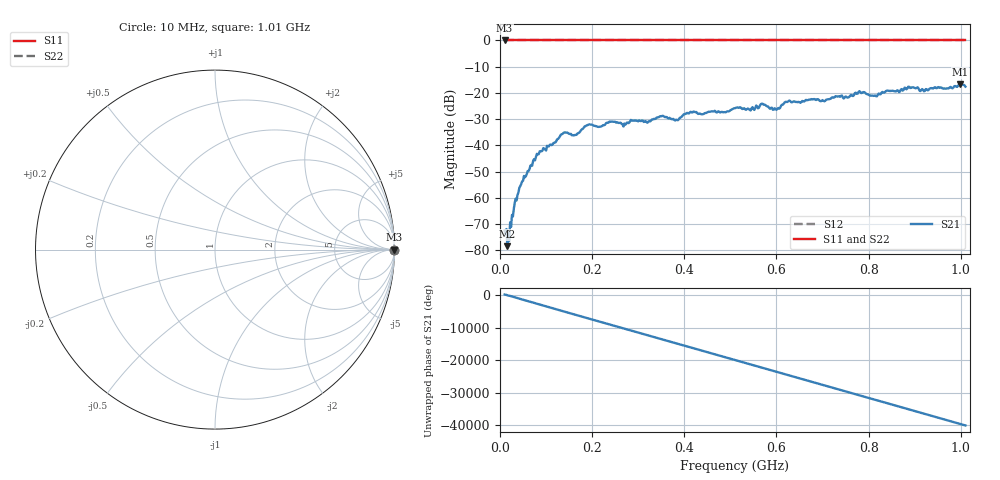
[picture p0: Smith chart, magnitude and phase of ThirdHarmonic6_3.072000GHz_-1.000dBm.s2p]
! 8/17/2025 8:59:03 AM
! C:\ANRITSUVNA\TEMP\TEMP.S2P
! CHANNEL.1
! TR.MEASUREMENT
! RAW.DATA
! RF.CORRECTION.OFF
! AVERAGING.OFF
! IF.BANDWIDTH: 5KHZ
! SWEEPTYPE:  FREQ.SWEEP(Linear)
! Reference Plane Port Info
! PORT:  PORT1  PORT2
! DISTANCE:  0  m  0  m
! TIME:  0  s  0  s
! PHASE.OFFSET:  0  deg.  0  deg.
! LOSS:  0  dB  0  dB
! REF.LOSS:  0  dB  0  dB
! REF.FREQ:  0  Hz  0  Hz
! Power Info
! POWER:  -20  dBm  -20  dBm
! EFF.POWER:  -20  dBm  -20  dBm
! SOURCE.ATTEN:  0  dB  0  dB
! TEST.ATTEN:  0  dB  0  dB
# GHZ S RI R 50.0
! FREQ.GHZ  S11RE  S11IM  S21RE  S21IM  S12RE  S12IM  S22RE  S22IM
!; PortSelection: Port_12
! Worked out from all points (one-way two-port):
!   501 points, 10 MHz to 1.01 GHz, reference 50 ohm
!   highest |S21| = -16.72 dB at 998 MHz (marker M1); lowest = -78.4 dB at 16 MHz (marker M2)
!   lowest |S11| = 0.0 dB at 10 MHz (marker M3)
!   |S11| at or under -10 dB: nowhere
!   |S22| runs from 0.0 to 0.0 dB; largest |S21 - S12| = 1.1
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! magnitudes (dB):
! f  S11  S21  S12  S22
! 10 MHz  0.0  -72.5  0.0  0.0
! 16 MHz  0.0  -78.4  0.0  0.0
! 20 MHz  0.0  -76.4  0.0  0.0
! 30 MHz  0.0  -64.2  0.0  0.0
! 44 MHz  0.0  -55.6  0.0  0.0
! 82 MHz  0.0  -43.4  0.0  0.0
! 136 MHz  0.0  -35.6  0.0  0.0
! 162 MHz  0.0  -36.1  0.0  0.0
! 178 MHz  0.0  -33.8  0.0  0.0
! 344 MHz  0.0  -29.3  0.0  0.0
! 382 MHz  0.0  -30.2  0.0  0.0
! 416 MHz  0.0  -27.5  0.0  0.0
! 510 MHz  0.0  -25.8  0.0  0.0
! 570 MHz  0.0  -24.1  0.0  0.0
! 596 MHz  0.0  -25.9  0.0  0.0
! 624 MHz  0.0  -23.4  0.0  0.0
! 678 MHz  0.0  -22.5  0.0  0.0
! 782 MHz  0.0  -19.7  0.0  0.0
! 814 MHz  0.0  -21.0  0.0  0.0
! 844 MHz  0.0  -19.3  0.0  0.0
! 998 MHz  0.0  -16.7  0.0  0.0
! 1.01 GHz  0.0  -17.6  0.0  0.0
